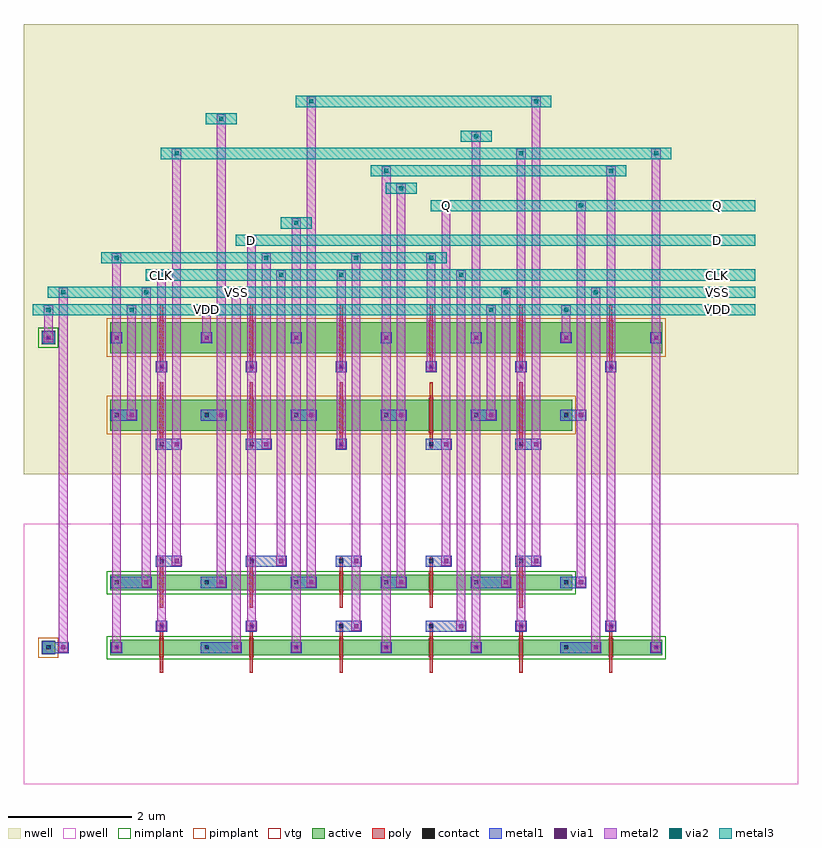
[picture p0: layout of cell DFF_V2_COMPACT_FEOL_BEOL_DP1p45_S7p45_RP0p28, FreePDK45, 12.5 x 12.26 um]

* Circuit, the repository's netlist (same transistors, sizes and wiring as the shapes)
* cell DFF_V2_COMPACT_FEOL_BEOL_DP1p45_S7p45_RP0p28
* pin CLK
* pin D
* pin Q
* pin VDD
* pin VSS
.SUBCKT DFF_V2_COMPACT_FEOL_BEOL_DP1p45_S7p45_RP0p28 3 4 11 12 13
* net 3 CLK
* net 4 D
* net 11 Q
* net 12 VDD
* net 13 VSS
* device instance $1 r0 *1 1.925,7 PMOS_VTG
M$1 12 3 1 12 PMOS_VTG L=0.05U W=0.5U AS=0.4P AD=0.35P PS=2.6U PD=1.9U
* device instance $2 r0 *1 3.375,7 PMOS_VTG
M$2 5 4 12 12 PMOS_VTG L=0.05U W=0.5U AS=0.35P AD=0.35P PS=1.9U PD=1.9U
* device instance $3 r0 *1 4.825,7 PMOS_VTG
M$3 6 3 5 12 PMOS_VTG L=0.05U W=0.5U AS=0.35P AD=0.35P PS=1.9U PD=1.9U
* device instance $4 r0 *1 6.275,7 PMOS_VTG
M$4 2 1 6 12 PMOS_VTG L=0.05U W=0.5U AS=0.35P AD=0.35P PS=1.9U PD=1.9U
* device instance $5 r0 *1 7.725,7 PMOS_VTG
M$5 12 10 2 12 PMOS_VTG L=0.05U W=0.5U AS=0.35P AD=0.35P PS=1.9U PD=1.9U
* device instance $6 r0 *1 9.175,7 PMOS_VTG
M$6 10 6 12 12 PMOS_VTG L=0.05U W=0.5U AS=0.35P AD=0.4P PS=1.9U PD=2.6U
* device instance $7 r0 *1 1.925,5.75 PMOS_VTG
M$7 7 10 12 12 PMOS_VTG L=0.05U W=0.5U AS=0.4P AD=0.35P PS=2.6U PD=1.9U
* device instance $8 r0 *1 3.375,5.75 PMOS_VTG
M$8 8 1 7 12 PMOS_VTG L=0.05U W=0.5U AS=0.35P AD=0.35P PS=1.9U PD=1.9U
* device instance $9 r0 *1 4.825,5.75 PMOS_VTG
M$9 9 3 8 12 PMOS_VTG L=0.05U W=0.5U AS=0.35P AD=0.35P PS=1.9U PD=1.9U
* device instance $10 r0 *1 6.275,5.75 PMOS_VTG
M$10 12 11 9 12 PMOS_VTG L=0.05U W=0.5U AS=0.35P AD=0.35P PS=1.9U PD=1.9U
* device instance $11 r0 *1 7.725,5.75 PMOS_VTG
M$11 11 8 12 12 PMOS_VTG L=0.05U W=0.5U AS=0.35P AD=0.4P PS=1.9U PD=2.6U
* device instance $12 r0 *1 1.925,2 NMOS_VTG
M$12 13 3 1 13 NMOS_VTG L=0.05U W=0.25U AS=0.2P AD=0.175P PS=2.1U PD=1.65U
* device instance $13 r0 *1 3.375,2 NMOS_VTG
M$13 5 4 13 13 NMOS_VTG L=0.05U W=0.25U AS=0.175P AD=0.175P PS=1.65U PD=1.65U
* device instance $14 r0 *1 4.825,2 NMOS_VTG
M$14 6 1 5 13 NMOS_VTG L=0.05U W=0.25U AS=0.175P AD=0.175P PS=1.65U PD=1.65U
* device instance $15 r0 *1 6.275,2 NMOS_VTG
M$15 2 3 6 13 NMOS_VTG L=0.05U W=0.25U AS=0.175P AD=0.175P PS=1.65U PD=1.65U
* device instance $16 r0 *1 7.725,2 NMOS_VTG
M$16 13 10 2 13 NMOS_VTG L=0.05U W=0.25U AS=0.175P AD=0.175P PS=1.65U PD=1.65U
* device instance $17 r0 *1 9.175,2 NMOS_VTG
M$17 10 6 13 13 NMOS_VTG L=0.05U W=0.25U AS=0.175P AD=0.2P PS=1.65U PD=2.1U
* device instance $18 r0 *1 1.925,3.05 NMOS_VTG
M$18 7 10 13 13 NMOS_VTG L=0.05U W=0.25U AS=0.2P AD=0.175P PS=2.1U PD=1.65U
* device instance $19 r0 *1 3.375,3.05 NMOS_VTG
M$19 8 3 7 13 NMOS_VTG L=0.05U W=0.25U AS=0.175P AD=0.175P PS=1.65U PD=1.65U
* device instance $20 r0 *1 4.825,3.05 NMOS_VTG
M$20 9 1 8 13 NMOS_VTG L=0.05U W=0.25U AS=0.175P AD=0.175P PS=1.65U PD=1.65U
* device instance $21 r0 *1 6.275,3.05 NMOS_VTG
M$21 13 11 9 13 NMOS_VTG L=0.05U W=0.25U AS=0.175P AD=0.175P PS=1.65U PD=1.65U
* device instance $22 r0 *1 7.725,3.05 NMOS_VTG
M$22 11 8 13 13 NMOS_VTG L=0.05U W=0.25U AS=0.175P AD=0.2P PS=1.65U PD=2.1U
.ENDS DFF_V2_COMPACT_FEOL_BEOL_DP1p45_S7p45_RP0p28

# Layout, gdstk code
import gdstk
lib = gdstk.Library(unit=1e-6, precision=5e-10)
def R(c, l, rs):  # rectangles x0, y0, x1, y1
    for r in rs: c.add(gdstk.rectangle(r[:2], r[2:], *l))
def A(c, l, x, y, w, h, nx, ny, dx, dy):  # array of equal rectangles
    R(c, l, [(x+i*dx, y+j*dy, x+i*dx+w, y+j*dy+h) for i in range(nx) for j in range(ny)])
active = (1, 0)
pwell = (2, 0)
nwell = (3, 0)
nimplant = (4, 0)
pimplant = (5, 0)
vtg = (6, 0)
poly = (9, 0)
contact = (10, 0)
metal1 = (11, 0)
via1 = (12, 0)
metal2 = (13, 0)
via2 = (14, 0)
metal3 = (15, 0)

dff_v2_compact_feol_beol = lib.new_cell('DFF_V2_COMPACT_FEOL_BEOL_DP1p45_S7p45_RP0p28')
R(dff_v2_compact_feol_beol, active, [(1.1,1.875,10,2.125), (-0.01,1.89,0.21,2.11), (1.1,2.925,8.55,3.175), (1.1,5.5,8.55,6), (1.1,6.75,10,7.25), (-0.01,6.89,0.21,7.11)])
R(dff_v2_compact_feol_beol, pwell, [(-0.3,-0.2,12.2,4)])
R(dff_v2_compact_feol_beol, nwell, [(-0.3,4.8,12.2,12.06)])
R(dff_v2_compact_feol_beol, nimplant, [(1.04,1.815,10.06,2.185), (1.04,2.865,8.61,3.235), (-0.06,6.84,0.26,7.16)])
R(dff_v2_compact_feol_beol, pimplant, [(-0.06,1.84,0.26,2.16), (1.04,5.44,8.61,6.06), (1.04,6.69,10.06,7.31)])
A(dff_v2_compact_feol_beol, vtg, 1.89, 1.845, 0.07, 0.31, 6, 1, 1.45, 0)
A(dff_v2_compact_feol_beol, vtg, 1.89, 2.895, 0.07, 0.31, 5, 1, 1.45, 0)
A(dff_v2_compact_feol_beol, vtg, 1.89, 5.47, 0.07, 0.56, 5, 1, 1.45, 0)
A(dff_v2_compact_feol_beol, vtg, 1.89, 6.72, 0.07, 0.56, 6, 1, 1.45, 0)
A(dff_v2_compact_feol_beol, poly, 1.9, 1.595, 0.05, 0.81, 6, 1, 1.45, 0)
A(dff_v2_compact_feol_beol, poly, 1.9, 2.645, 0.05, 0.81, 5, 1, 1.45, 0)
A(dff_v2_compact_feol_beol, poly, 1.9, 5.22, 0.05, 1.06, 5, 1, 1.45, 0)
A(dff_v2_compact_feol_beol, poly, 1.9, 6.47, 0.05, 1.06, 6, 1, 1.45, 0)
A(dff_v2_compact_feol_beol, contact, 1.17, 1.97, 0.065, 0.065, 7, 2, 1.45, 5)
A(dff_v2_compact_feol_beol, contact, 1.895, 2.315, 0.065, 0.065, 6, 2, 1.45, 4.185)
A(dff_v2_compact_feol_beol, contact, 1.17, 3.02, 0.065, 0.065, 6, 2, 1.45, 2.7)
A(dff_v2_compact_feol_beol, contact, 1.895, 3.365, 0.065, 0.065, 5, 2, 1.45, 1.885)
R(dff_v2_compact_feol_beol, contact, [(0.07,1.97,0.135,2.035), (0.07,6.97,0.135,7.035)])
A(dff_v2_compact_feol_beol, metal1, 2.65, 2.96, 0.24, 0.18, 3, 1, 1.45, 0)
A(dff_v2_compact_feol_beol, metal1, 4.825, 3.305, 0.24, 0.18, 3, 1, 1.45, 0)
A(dff_v2_compact_feol_beol, metal1, 1.2, 5.66, 0.24, 0.18, 6, 1, 1.45, 0)
R(dff_v2_compact_feol_beol, metal1, [(0,1.9,0.2,2.1), (0.1,1.91,0.34,2.09), (0.25,1.91,0.43,2.09), (1.11,1.91,1.29,2.09), (1.11,1.91,1.29,2.09), (2.56,1.91,2.74,2.09), (2.65,1.91,3.13,2.09), (3.04,1.91,3.22,2.09), (4.01,1.91,4.19,2.09), (4.01,1.91,4.19,2.09), (5.46,1.91,5.64,2.09), (5.46,1.91,5.64,2.09), (6.91,1.91,7.09,2.09), (6.91,1.91,7.09,2.09), (8.36,1.91,8.54,2.09), (8.45,1.91,8.93,2.09), (8.84,1.91,9.02,2.09), (9.81,1.91,9.99,2.09), (9.81,1.91,9.99,2.09), (1.835,2.255,2.015,2.435), (1.835,2.255,2.015,2.435), (3.285,2.255,3.465,2.435), (3.285,2.255,3.465,2.435), (4.735,2.255,4.915,2.435), (4.825,2.255,5.065,2.435), (4.975,2.255,5.155,2.435), (6.185,2.255,6.365,2.435), (6.275,2.255,6.755,2.435), (6.665,2.255,6.845,2.435), (7.635,2.255,7.815,2.435), (7.635,2.255,7.815,2.435), (9.085,2.255,9.265,2.435), (9.085,2.255,9.265,2.435), (1.11,2.96,1.29,3.14), (1.2,2.96,1.68,3.14), (1.59,2.96,1.77,3.14), (2.56,2.96,2.74,3.14), (2.8,2.96,2.98,3.14), (4.01,2.96,4.19,3.14), (4.25,2.96,4.43,3.14), (5.46,2.96,5.64,3.14), (5.7,2.96,5.88,3.14), (6.91,2.96,7.09,3.14), (7,2.96,7.48,3.14), (7.39,2.96,7.57,3.14), (8.36,2.96,8.54,3.14), (8.45,2.96,8.69,3.14), (8.6,2.96,8.78,3.14), (1.835,3.305,2.015,3.485), (1.925,3.305,2.165,3.485), (2.075,3.305,2.255,3.485), (3.285,3.305,3.465,3.485), (3.375,3.305,3.855,3.485), (3.765,3.305,3.945,3.485), (4.735,3.305,4.915,3.485), (4.975,3.305,5.155,3.485), (6.185,3.305,6.365,3.485), (6.425,3.305,6.605,3.485), (7.635,3.305,7.815,3.485), (7.875,3.305,8.055,3.485), (1.835,5.19,2.015,5.37), (1.925,5.19,2.165,5.37), (2.075,5.19,2.255,5.37), (3.285,5.19,3.465,5.37), (3.375,5.19,3.615,5.37), (3.525,5.19,3.705,5.37), (4.735,5.19,4.915,5.37), (4.735,5.19,4.915,5.37), (6.185,5.19,6.365,5.37), (6.275,5.19,6.515,5.37), (6.425,5.19,6.605,5.37), (7.635,5.19,7.815,5.37), (7.725,5.19,7.965,5.37), (7.875,5.19,8.055,5.37), (1.11,5.66,1.29,5.84), (1.35,5.66,1.53,5.84), (2.56,5.66,2.74,5.84), (2.8,5.66,2.98,5.84), (4.01,5.66,4.19,5.84), (4.25,5.66,4.43,5.84), (5.46,5.66,5.64,5.84), (5.7,5.66,5.88,5.84), (6.91,5.66,7.09,5.84), (7.15,5.66,7.33,5.84), (8.36,5.66,8.54,5.84), (8.6,5.66,8.78,5.84), (1.835,6.44,2.015,6.62), (1.835,6.44,2.015,6.62), (3.285,6.44,3.465,6.62), (3.285,6.44,3.465,6.62), (4.735,6.44,4.915,6.62), (4.735,6.44,4.915,6.62), (6.185,6.44,6.365,6.62), (6.185,6.44,6.365,6.62), (7.635,6.44,7.815,6.62), (7.635,6.44,7.815,6.62), (9.085,6.44,9.265,6.62), (9.085,6.44,9.265,6.62), (0,6.9,0.2,7.1), (0.01,6.91,0.19,7.09), (1.11,6.91,1.29,7.09), (1.11,6.91,1.29,7.09), (2.56,6.91,2.74,7.09), (2.56,6.91,2.74,7.09), (4.01,6.91,4.19,7.09), (4.01,6.91,4.19,7.09), (5.46,6.91,5.64,7.09), (5.46,6.91,5.64,7.09), (6.91,6.91,7.09,7.09), (6.91,6.91,7.09,7.09), (8.36,6.91,8.54,7.09), (8.36,6.91,8.54,7.09), (9.81,6.91,9.99,7.09), (9.81,6.91,9.99,7.09)])
A(dff_v2_compact_feol_beol, via1, 4.07, 1.97, 0.065, 0.065, 3, 1, 1.45, 0)
A(dff_v2_compact_feol_beol, via1, 3.345, 2.315, 0.065, 0.065, 3, 1, 1.69, 0)
A(dff_v2_compact_feol_beol, via1, 2.86, 3.02, 0.065, 0.065, 3, 1, 1.45, 0)
A(dff_v2_compact_feol_beol, via1, 5.035, 3.365, 0.065, 0.065, 3, 1, 1.45, 0)
A(dff_v2_compact_feol_beol, via1, 1.41, 5.72, 0.065, 0.065, 6, 1, 1.45, 0)
A(dff_v2_compact_feol_beol, via1, 1.895, 6.5, 0.065, 0.065, 6, 1, 1.45, 0)
A(dff_v2_compact_feol_beol, via1, 1.17, 6.97, 0.065, 0.065, 7, 1, 1.45, 0)
R(dff_v2_compact_feol_beol, via1, [(0.31,1.97,0.375,2.035), (1.17,1.97,1.235,2.035), (3.1,1.97,3.165,2.035), (8.9,1.97,8.965,2.035), (9.87,1.97,9.935,2.035), (1.895,2.315,1.96,2.38), (7.695,2.315,7.76,2.38), (9.145,2.315,9.21,2.38), (1.65,3.02,1.715,3.085), (7.45,3.02,7.515,3.085), (8.66,3.02,8.725,3.085), (2.135,3.365,2.2,3.43), (3.825,3.365,3.89,3.43), (2.135,5.25,2.2,5.315), (3.585,5.25,3.65,5.315), (4.795,5.25,4.86,5.315), (6.485,5.25,6.55,5.315), (7.935,5.25,8,5.315), (0.07,6.97,0.135,7.035)])
A(dff_v2_compact_feol_beol, metal2, 4.025, 1.925, 0.15, 0.15, 3, 1, 1.45, 0)
A(dff_v2_compact_feol_beol, metal2, 3.3, 2.27, 0.15, 0.15, 3, 1, 1.69, 0)
A(dff_v2_compact_feol_beol, metal2, 2.815, 2.975, 0.15, 0.15, 3, 1, 1.45, 0)
A(dff_v2_compact_feol_beol, metal2, 4.99, 3.32, 0.15, 0.15, 3, 1, 1.45, 0)
A(dff_v2_compact_feol_beol, metal2, 1.365, 5.675, 0.15, 0.15, 6, 1, 1.45, 0)
A(dff_v2_compact_feol_beol, metal2, 1.85, 6.455, 0.15, 0.15, 6, 1, 1.45, 0)
A(dff_v2_compact_feol_beol, metal2, 1.125, 6.925, 0.15, 0.15, 7, 1, 1.45, 0)
R(dff_v2_compact_feol_beol, metal2, [(0.265,1.925,0.415,2.075), (1.125,1.925,1.275,2.075), (3.055,1.925,3.205,2.075), (8.855,1.925,9.005,2.075), (9.825,1.925,9.975,2.075), (0.27,2,0.41,7.73), (1.13,2,1.27,8.29), (3.06,2,3.2,7.73), (4.03,2,4.17,8.85), (5.48,2,5.62,9.69), (6.93,2,7.07,10.25), (8.86,2,9,7.73), (9.83,2,9.97,9.97), (1.85,2.27,2,2.42), (7.65,2.27,7.8,2.42), (9.1,2.27,9.25,2.42), (1.855,2.345,1.995,8.01), (3.305,2.345,3.445,8.57), (4.995,2.345,5.135,8.29), (6.685,2.345,6.825,8.01), (7.655,2.345,7.795,9.97), (9.105,2.345,9.245,9.69), (1.605,2.975,1.755,3.125), (7.405,2.975,7.555,3.125), (8.615,2.975,8.765,3.125), (1.61,3.05,1.75,7.73), (2.82,3.05,2.96,10.53), (4.27,3.05,4.41,10.81), (5.72,3.05,5.86,9.41), (7.41,3.05,7.55,7.73), (8.62,3.05,8.76,9.13), (2.09,3.32,2.24,3.47), (3.78,3.32,3.93,3.47), (2.095,3.395,2.235,9.97), (3.785,3.395,3.925,8.01), (4.995,3.395,5.135,8.29), (6.445,3.395,6.585,9.13), (7.895,3.395,8.035,10.81), (2.09,5.205,2.24,5.355), (3.54,5.205,3.69,5.355), (4.75,5.205,4.9,5.355), (6.44,5.205,6.59,5.355), (7.89,5.205,8.04,5.355), (2.095,5.28,2.235,9.97), (3.545,5.28,3.685,8.29), (4.755,5.28,4.895,8.01), (6.445,5.28,6.585,9.13), (7.895,5.28,8.035,10.81), (1.37,5.75,1.51,7.45), (2.82,5.75,2.96,10.53), (4.27,5.75,4.41,10.81), (5.72,5.75,5.86,9.41), (7.17,5.75,7.31,7.45), (8.62,5.75,8.76,9.13), (1.855,6.53,1.995,8.01), (3.305,6.53,3.445,8.57), (4.755,6.53,4.895,8.01), (6.205,6.53,6.345,8.29), (7.655,6.53,7.795,9.97), (9.105,6.53,9.245,9.69), (0.025,6.925,0.175,7.075), (0.03,7,0.17,7.45), (1.13,7,1.27,8.29), (2.58,7,2.72,7.45), (4.03,7,4.17,8.85), (5.48,7,5.62,9.69), (6.93,7,7.07,10.25), (8.38,7,8.52,7.45), (9.83,7,9.97,9.97), (0.025,7.375,0.175,7.525), (1.365,7.375,1.515,7.525), (2.575,7.375,2.725,7.525), (7.165,7.375,7.315,7.525), (8.375,7.375,8.525,7.525), (0.265,7.655,0.415,7.805), (1.605,7.655,1.755,7.805), (3.055,7.655,3.205,7.805), (7.405,7.655,7.555,7.805), (8.855,7.655,9.005,7.805), (1.85,7.935,2,8.085), (1.85,7.935,2,8.085), (3.78,7.935,3.93,8.085), (4.75,7.935,4.9,8.085), (4.75,7.935,4.9,8.085), (6.68,7.935,6.83,8.085), (1.125,8.215,1.275,8.365), (1.125,8.215,1.275,8.365), (3.54,8.215,3.69,8.365), (4.99,8.215,5.14,8.365), (4.99,8.215,5.14,8.365), (6.2,8.215,6.35,8.365), (3.3,8.495,3.45,8.645), (3.3,8.495,3.45,8.645), (4.025,8.775,4.175,8.925), (4.025,8.775,4.175,8.925), (6.44,9.055,6.59,9.205), (6.44,9.055,6.59,9.205), (8.615,9.055,8.765,9.205), (8.615,9.055,8.765,9.205), (5.715,9.335,5.865,9.485), (5.715,9.335,5.865,9.485), (5.475,9.615,5.625,9.765), (5.475,9.615,5.625,9.765), (9.1,9.615,9.25,9.765), (9.1,9.615,9.25,9.765), (2.09,9.895,2.24,10.045), (2.09,9.895,2.24,10.045), (7.65,9.895,7.8,10.045), (7.65,9.895,7.8,10.045), (9.825,9.895,9.975,10.045), (9.825,9.895,9.975,10.045), (6.925,10.175,7.075,10.325), (6.925,10.175,7.075,10.325), (2.815,10.455,2.965,10.605), (2.815,10.455,2.965,10.605), (4.265,10.735,4.415,10.885), (4.265,10.735,4.415,10.885), (7.89,10.735,8.04,10.885), (7.89,10.735,8.04,10.885)])
R(dff_v2_compact_feol_beol, via2, [(0.07,7.42,0.135,7.485), (1.41,7.42,1.475,7.485), (2.62,7.42,2.685,7.485), (7.21,7.42,7.275,7.485), (8.42,7.42,8.485,7.485), (0.31,7.7,0.375,7.765), (1.65,7.7,1.715,7.765), (3.1,7.7,3.165,7.765), (7.45,7.7,7.515,7.765), (8.9,7.7,8.965,7.765), (1.895,7.98,1.96,8.045), (1.895,7.98,1.96,8.045), (3.825,7.98,3.89,8.045), (4.795,7.98,4.86,8.045), (4.795,7.98,4.86,8.045), (6.725,7.98,6.79,8.045), (1.17,8.26,1.235,8.325), (1.17,8.26,1.235,8.325), (3.585,8.26,3.65,8.325), (5.035,8.26,5.1,8.325), (5.035,8.26,5.1,8.325), (6.245,8.26,6.31,8.325), (3.345,8.54,3.41,8.605), (3.345,8.54,3.41,8.605), (4.07,8.82,4.135,8.885), (4.07,8.82,4.135,8.885), (6.485,9.1,6.55,9.165), (6.485,9.1,6.55,9.165), (8.66,9.1,8.725,9.165), (8.66,9.1,8.725,9.165), (5.76,9.38,5.825,9.445), (5.76,9.38,5.825,9.445), (5.52,9.66,5.585,9.725), (5.52,9.66,5.585,9.725), (9.145,9.66,9.21,9.725), (9.145,9.66,9.21,9.725), (2.135,9.94,2.2,10.005), (2.135,9.94,2.2,10.005), (7.695,9.94,7.76,10.005), (7.695,9.94,7.76,10.005), (9.87,9.94,9.935,10.005), (9.87,9.94,9.935,10.005), (6.97,10.22,7.035,10.285), (6.97,10.22,7.035,10.285), (2.86,10.5,2.925,10.565), (2.86,10.5,2.925,10.565), (4.31,10.78,4.375,10.845), (4.31,10.78,4.375,10.845), (7.935,10.78,8,10.845), (7.935,10.78,8,10.845)])
R(dff_v2_compact_feol_beol, metal3, [(-0.15,7.36,8.7,7.54), (8.7,7.36,11.5,7.54), (0.025,7.375,0.175,7.525), (1.365,7.375,1.515,7.525), (2.575,7.375,2.725,7.525), (7.165,7.375,7.315,7.525), (8.375,7.375,8.525,7.525), (0.09,7.64,9.18,7.82), (9.18,7.64,11.5,7.82), (0.265,7.655,0.415,7.805), (1.605,7.655,1.755,7.805), (3.055,7.655,3.205,7.805), (7.405,7.655,7.555,7.805), (8.855,7.655,9.005,7.805), (1.675,7.92,7.005,8.1), (7.005,7.92,11.5,8.1), (1.85,7.935,2,8.085), (1.85,7.935,2,8.085), (3.78,7.935,3.93,8.085), (4.75,7.935,4.9,8.085), (4.75,7.935,4.9,8.085), (6.68,7.935,6.83,8.085), (0.95,8.2,6.525,8.38), (1.125,8.215,1.275,8.365), (1.125,8.215,1.275,8.365), (3.54,8.215,3.69,8.365), (4.99,8.215,5.14,8.365), (4.99,8.215,5.14,8.365), (6.2,8.215,6.35,8.365), (3.125,8.48,3.625,8.66), (3.625,8.48,11.5,8.66), (3.3,8.495,3.45,8.645), (3.3,8.495,3.45,8.645), (3.85,8.76,4.35,8.94), (4.025,8.775,4.175,8.925), (4.025,8.775,4.175,8.925), (6.265,9.04,8.94,9.22), (8.94,9.04,11.5,9.22), (6.44,9.055,6.59,9.205), (6.44,9.055,6.59,9.205), (8.615,9.055,8.765,9.205), (8.615,9.055,8.765,9.205), (5.54,9.32,6.04,9.5), (5.715,9.335,5.865,9.485), (5.715,9.335,5.865,9.485), (5.3,9.6,9.425,9.78), (5.475,9.615,5.625,9.765), (5.475,9.615,5.625,9.765), (9.1,9.615,9.25,9.765), (9.1,9.615,9.25,9.765), (1.915,9.88,10.15,10.06), (2.09,9.895,2.24,10.045), (2.09,9.895,2.24,10.045), (7.65,9.895,7.8,10.045), (7.65,9.895,7.8,10.045), (9.825,9.895,9.975,10.045), (9.825,9.895,9.975,10.045), (6.75,10.16,7.25,10.34), (6.925,10.175,7.075,10.325), (6.925,10.175,7.075,10.325), (2.64,10.44,3.14,10.62), (2.815,10.455,2.965,10.605), (2.815,10.455,2.965,10.605), (4.09,10.72,8.215,10.9), (4.265,10.735,4.415,10.885), (4.265,10.735,4.415,10.885), (7.89,10.735,8.04,10.885), (7.89,10.735,8.04,10.885)])
dff_v2_compact_feol_beol.add(gdstk.Label('VDD', (10.9,7.45), layer=15, texttype=0))
dff_v2_compact_feol_beol.add(gdstk.Label('VDD', (10.9,7.45), layer=15, texttype=1))
dff_v2_compact_feol_beol.add(gdstk.Label('VDD', (10.9,7.45), layer=15, texttype=2))
dff_v2_compact_feol_beol.add(gdstk.Label('VDD', (2.65,7.45), layer=13, texttype=0))
dff_v2_compact_feol_beol.add(gdstk.Label('VDD', (2.65,7.45), layer=13, texttype=1))
dff_v2_compact_feol_beol.add(gdstk.Label('VDD', (2.65,7.45), layer=13, texttype=2))
dff_v2_compact_feol_beol.add(gdstk.Label('VSS', (10.9,7.73), layer=15, texttype=0))
dff_v2_compact_feol_beol.add(gdstk.Label('VSS', (10.9,7.73), layer=15, texttype=1))
dff_v2_compact_feol_beol.add(gdstk.Label('VSS', (10.9,7.73), layer=15, texttype=2))
dff_v2_compact_feol_beol.add(gdstk.Label('VSS', (3.13,7.73), layer=13, texttype=0))
dff_v2_compact_feol_beol.add(gdstk.Label('VSS', (3.13,7.73), layer=13, texttype=1))
dff_v2_compact_feol_beol.add(gdstk.Label('VSS', (3.13,7.73), layer=13, texttype=2))
dff_v2_compact_feol_beol.add(gdstk.Label('CLK', (10.9,8.01), layer=15, texttype=0))
dff_v2_compact_feol_beol.add(gdstk.Label('CLK', (10.9,8.01), layer=15, texttype=1))
dff_v2_compact_feol_beol.add(gdstk.Label('CLK', (10.9,8.01), layer=15, texttype=2))
dff_v2_compact_feol_beol.add(gdstk.Label('CLK', (1.925,8.01), layer=13, texttype=0))
dff_v2_compact_feol_beol.add(gdstk.Label('CLK', (1.925,8.01), layer=13, texttype=1))
dff_v2_compact_feol_beol.add(gdstk.Label('CLK', (1.925,8.01), layer=13, texttype=2))
dff_v2_compact_feol_beol.add(gdstk.Label('D', (10.9,8.57), layer=15, texttype=0))
dff_v2_compact_feol_beol.add(gdstk.Label('D', (10.9,8.57), layer=15, texttype=1))
dff_v2_compact_feol_beol.add(gdstk.Label('D', (10.9,8.57), layer=15, texttype=2))
dff_v2_compact_feol_beol.add(gdstk.Label('D', (3.375,8.57), layer=13, texttype=0))
dff_v2_compact_feol_beol.add(gdstk.Label('D', (3.375,8.57), layer=13, texttype=1))
dff_v2_compact_feol_beol.add(gdstk.Label('D', (3.375,8.57), layer=13, texttype=2))
dff_v2_compact_feol_beol.add(gdstk.Label('Q', (10.9,9.13), layer=15, texttype=0))
dff_v2_compact_feol_beol.add(gdstk.Label('Q', (10.9,9.13), layer=15, texttype=1))
dff_v2_compact_feol_beol.add(gdstk.Label('Q', (10.9,9.13), layer=15, texttype=2))
dff_v2_compact_feol_beol.add(gdstk.Label('Q', (6.515,9.13), layer=13, texttype=0))
dff_v2_compact_feol_beol.add(gdstk.Label('Q', (6.515,9.13), layer=13, texttype=1))
dff_v2_compact_feol_beol.add(gdstk.Label('Q', (6.515,9.13), layer=13, texttype=2))

lib.write_gds('DFF_V2_COMPACT_FEOL_BEOL_DP1p45_S7p45_RP0p28.gds')
